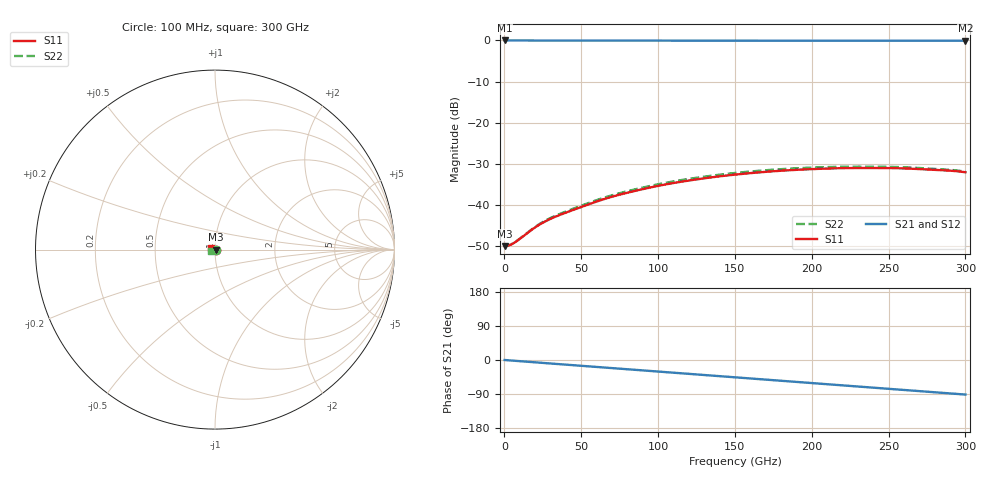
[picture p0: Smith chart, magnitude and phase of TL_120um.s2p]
#  Hz  S  RI  R  50
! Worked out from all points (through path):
!   3000 points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, 100 MHz to 300 GHz, reference 50 ohm
!   highest |S21| = -0.03 dB at 100 MHz (marker M1); lowest = -0.1 dB at 300 GHz (marker M2)
!   group delay of S21, straight-line fit = 843 fs
!   lowest |S11| = -49.9 dB at 100 MHz (marker M3), VSWR 1.01, Z = 50.3 - j0.000144 ohm
!   |S11| at or under -10 dB: start of sweep to end of sweep
!   |S22| runs from -49.9 to -30.6 dB; largest |S21 - S12| = 0.00062
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1e8  0.00319 -1.43e-06  0.9969 -0.000551  0.9969 -0.000551  0.00321 -1.68e-06
3.1e9  0.00327 -5.58e-05  0.9967 -0.0171  0.9967 -0.0171  0.00328 -6.31e-05
6.3e9  0.0035 -0.000182  0.9959 -0.0346  0.9959 -0.0346  0.00351 -0.000196
9.2e9  0.00379 -0.000404  0.9948 -0.0503  0.9948 -0.0503  0.00382 -0.00042
1.92e10  0.00484 -0.0021  0.9893 -0.1032  0.9893 -0.1032  0.00491 -0.00211
2.31e10  0.00502 -0.00303  0.9867 -0.1235  0.9867 -0.1235  0.00514 -0.00304
2.71e10  0.00504 -0.00402  0.9837 -0.1442  0.9837 -0.1442  0.0052 -0.00404
3.54e10  0.00467 -0.00594  0.9762 -0.1873  0.9762 -0.1873  0.00495 -0.00599
5.01e10  0.00361 -0.00884  0.958 -0.2627  0.958 -0.2627  0.00414 -0.009
6.19e10  0.00244 -0.0111  0.9394 -0.3218  0.9394 -0.3218  0.00322 -0.0114
7.21e10  0.00104 -0.013  0.9204 -0.372  0.9204 -0.372  0.00208 -0.0134
8.53e10  -0.00107 -0.015  0.8918 -0.4352  0.8917 -0.4352  0.000311 -0.0156
1.001e11  -0.00378 -0.0168  0.8547 -0.5034  0.8546 -0.5034  -0.00199 -0.0179
1.236e11  -0.0087 -0.0185  0.7851 -0.6053  0.7851 -0.6052  -0.00627 -0.0204
1.501e11  -0.0145 -0.0185  0.6925 -0.7087  0.6924 -0.7086  -0.0115 -0.0218
1.758e11  -0.0198 -0.0167  0.5898 -0.7957  0.5897 -0.7955  -0.0165 -0.0215
2.001e11  -0.0239 -0.0134  0.4826 -0.8644  0.4825 -0.8642  -0.0206 -0.0199
2.251e11  -0.0269 -0.00879  0.3641 -0.9203  0.364 -0.92  -0.0239 -0.0171
2.501e11  -0.028 -0.0035  0.2394 -0.9601  0.2393 -0.9597  -0.0259 -0.0135
2.671e11  -0.0276 0.00034  0.1517 -0.9775  0.1516 -0.977  -0.0264 -0.0107
2.855e11  -0.0263 0.00409  0.0559 -0.9875  0.0559 -0.987  -0.0261 -0.00799
3e11  -0.0241 0.00713  -0.021 -0.9887  -0.021 -0.9881  -0.025 -0.00553
